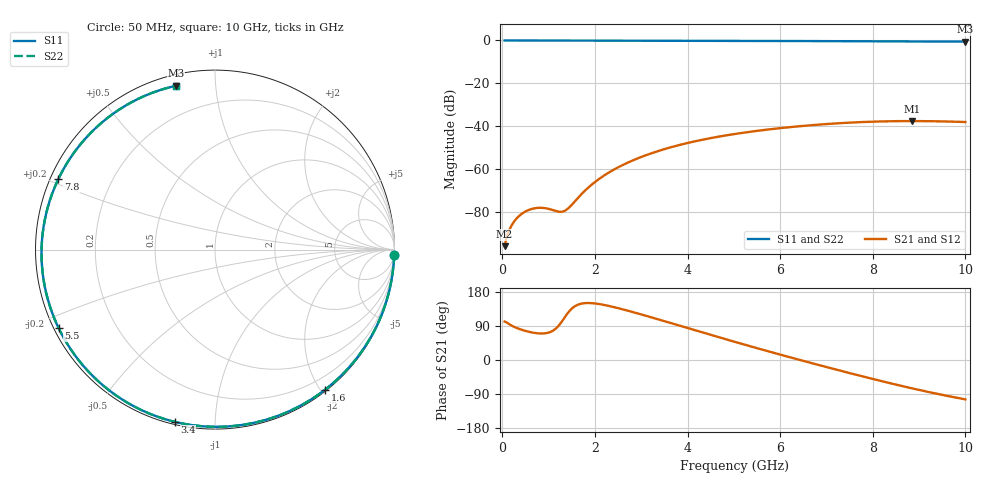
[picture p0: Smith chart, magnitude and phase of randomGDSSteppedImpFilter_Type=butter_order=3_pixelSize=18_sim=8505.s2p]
! freq	dB(S11)	phase(S11)	dB(S12)	phase(S12)
!  dB(S21)	phase(S21)	dB(S22)	phase(S22)
!S-par simulation data
#  GHz  S  DB  R 50
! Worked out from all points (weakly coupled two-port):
!   200 points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, 50 MHz to 10 GHz, reference 50 ohm
!   highest |S21| = -37.64 dB at 8.85 GHz (marker M1); lowest = -96.0 dB at 50 MHz (marker M2)
!   lowest |S11| = -0.6 dB at 10 GHz (marker M3), VSWR 31.32, Z = 2.59 + j39.4 ohm
!   |S11| at or under -10 dB: nowhere
!   |S22| runs from -0.6 to 0.0 dB; largest |S21 - S12| = 0
!   S11 on the Smith chart (normalised r, x): 50 MHz: 1, -71; 1.6 GHz: 0.02, -2.05; 3.4 GHz: 0.01, -0.79; 5.5 GHz: 0.01, -0.24; 7.8 GHz: 0.02, +0.22; 10 GHz: 0.05, +0.79
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0.05  -0.00 -1.6  -96.04 101.5  -96.04 101.5  -0.00 -1.6
0.45  -0.02 -15.0  -80.49 78.6  -80.49 78.6  -0.02 -15.0
0.8  -0.03 -26.5  -78.12 70.0  -78.12 70.0  -0.03 -26.5
1.3  -0.05 -42.6  -79.91 104.0  -79.91 104.0  -0.05 -42.6
1.4  -0.06 -45.7  -78.82 121.6  -78.82 121.6  -0.06 -45.7
1.6  -0.06 -52.0  -74.33 144.1  -74.33 144.1  -0.06 -52.0
1.75  -0.07 -56.6  -70.88 149.6  -70.88 149.6  -0.07 -56.6
2.05  -0.08 -65.6  -65.29 148.5  -65.29 148.5  -0.08 -65.6
2.45  -0.09 -77.2  -59.82 138.4  -59.82 138.4  -0.09 -77.2
2.9  -0.11 -89.8  -55.26 123.7  -55.26 123.7  -0.11 -89.8
3.4  -0.13 -103.1  -51.40 106.1  -51.40 106.1  -0.13 -103.1
4.15  -0.16 -122.0  -47.13 79.0  -47.13 79.0  -0.16 -122.0
5.05  -0.20 -143.2  -43.57 46.9  -43.57 46.9  -0.20 -143.2
5.5  -0.22 -153.4  -42.21 31.2  -42.21 31.2  -0.22 -153.4
6.1  -0.26 -166.7  -40.71 10.9  -40.71 10.9  -0.26 -166.7
6.7  -0.30 -179.9  -39.52 -8.9  -39.52 -8.9  -0.30 -179.9
7.25  -0.34 167.9  -38.67 -26.6  -38.67 -26.6  -0.34 167.9
7.8  -0.38 155.7  -38.07 -43.9  -38.07 -43.9  -0.38 155.7
8.35  -0.42 143.2  -37.73 -60.5  -37.73 -60.5  -0.42 143.2
8.85  -0.46 131.5  -37.64 -74.9  -37.64 -74.9  -0.46 131.5
9.45  -0.51 117.0  -37.77 -90.8  -37.77 -90.8  -0.51 117.1
10  -0.55 103.4  -38.07 -103.9  -38.07 -103.9  -0.55 103.4
